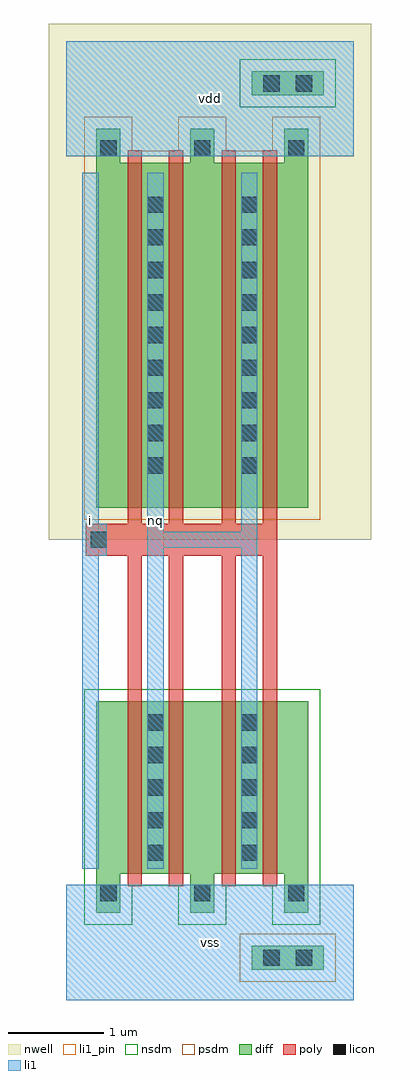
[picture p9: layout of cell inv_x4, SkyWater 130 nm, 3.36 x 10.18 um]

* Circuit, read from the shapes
.subckt inv_x4 i nq vdd vss
XM1 nq i vss VSUBS sky130_fd_pr__nfet_01v8 w=1.8 l=0.15 m=4
XM2 nq i vdd n1 sky130_fd_pr__pfet_01v8 w=3.6 l=0.15 m=4
.ends

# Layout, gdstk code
import gdstk
lib = gdstk.Library(unit=1e-6, precision=1e-09)
def R(c, l, rs):  # rectangles x0, y0, x1, y1
    for r in rs: c.add(gdstk.rectangle(r[:2], r[2:], *l))
def A(c, l, x, y, w, h, nx, ny, dx, dy):  # array of equal rectangles
    R(c, l, [(x+i*dx, y+j*dy, x+i*dx+w, y+j*dy+h) for i in range(nx) for j in range(ny)])
def P(c, l, *ps):  # polygons
    for p in ps: c.add(gdstk.Polygon(p, *l))
nwell = (64, 20)
diff = (65, 20)
poly = (66, 20)
licon = (66, 44)
li1_pin = (67, 16)
li1 = (67, 20)
nsdm = (93, 44)
psdm = (94, 20)

inv_x4 = lib.new_cell('inv_x4')
R(inv_x4, nwell, [(-0.18,4.8,3.18,10.18)])
R(inv_x4, diff, [(1.935,0.315,2.685,0.565), (1.935,9.435,2.685,9.685)])
P(inv_x4, diff, [(0.315,0.91),(0.315,3.115),(2.525,3.115),(2.525,0.91),(2.275,0.91),(2.275,1.315),(1.545,1.315),(1.545,0.91),(1.295,0.91),(1.295,1.315),(0.565,1.315),(0.565,0.91)],
  [(0.315,5.135),(0.315,9.09),(0.565,9.09),(0.565,8.735),(1.295,8.735),(1.295,9.09),(1.545,9.09),(1.545,8.735),(2.275,8.735),(2.275,9.09),(2.525,9.09),(2.525,5.135)])
P(inv_x4, poly, [(0.64,1.185),(0.64,4.635),(0.205,4.635),(0.205,4.965),(0.64,4.965),(0.64,8.865),(0.79,8.865),(0.79,4.965),(1.07,4.965),(1.07,8.865),(1.22,8.865),(1.22,4.965),(1.62,4.965),(1.62,8.865),(1.77,8.865),(1.77,4.965),(2.05,4.965),(2.05,8.865),(2.2,8.865),(2.2,1.185),(2.05,1.185),(2.05,4.635),(1.77,4.635),(1.77,1.185),(1.62,1.185),(1.62,4.635),(1.22,4.635),(1.22,1.185),(1.07,1.185),(1.07,4.635),(0.79,4.635),(0.79,1.185)])
A(inv_x4, licon, 0.355, 1.03, 0.17, 0.17, 3, 2, 0.98, 7.77)
A(inv_x4, licon, 0.845, 1.45, 0.17, 0.17, 1, 5, 0, 0.34)
A(inv_x4, licon, 1.825, 1.45, 0.17, 0.17, 1, 5, 0, 0.34)
A(inv_x4, licon, 0.845, 5.49, 0.17, 0.17, 1, 9, 0, 0.34)
A(inv_x4, licon, 1.825, 5.49, 0.17, 0.17, 1, 9, 0, 0.34)
R(inv_x4, licon, [(2.055,0.355,2.225,0.525), (2.395,0.355,2.565,0.525), (0.255,4.715,0.425,4.885), (2.055,9.475,2.225,9.645), (2.395,9.475,2.565,9.645)])
R(inv_x4, li1_pin, [(0,0,3,1.2), (0.17,1.37,0.34,8.63), (0.845,1.37,1.015,8.63), (0,8.8,3,10)])
R(inv_x4, li1, [(0,0,3,1.2), (0,8.8,3,10)])
P(inv_x4, li1, [(0.17,1.37),(0.17,8.63),(0.34,8.63),(0.34,4.965),(0.425,4.965),(0.425,4.635),(0.34,4.635),(0.34,1.37)],
  [(0.845,1.37),(0.845,8.63),(1.015,8.63),(1.015,4.885),(1.825,4.885),(1.825,8.63),(1.995,8.63),(1.995,1.37),(1.825,1.37),(1.825,4.715),(1.015,4.715),(1.015,1.37)])
R(inv_x4, nsdm, [(1.81,9.31,2.81,9.81)])
P(inv_x4, nsdm, [(0.19,0.785),(0.19,3.24),(2.65,3.24),(2.65,0.785),(2.15,0.785),(2.15,1.19),(1.67,1.19),(1.67,0.785),(1.17,0.785),(1.17,1.19),(0.69,1.19),(0.69,0.785)])
R(inv_x4, psdm, [(1.81,0.19,2.81,0.69)])
P(inv_x4, psdm, [(0.19,5.01),(0.19,9.215),(0.69,9.215),(0.69,8.86),(1.17,8.86),(1.17,9.215),(1.67,9.215),(1.67,8.86),(2.15,8.86),(2.15,9.215),(2.65,9.215),(2.65,5.01)])
inv_x4.add(gdstk.Label('i', (0.255,5), layer=67, texttype=16))
inv_x4.add(gdstk.Label('vss', (1.5,0.6), layer=67, texttype=16))
inv_x4.add(gdstk.Label('vdd', (1.5,9.4), layer=67, texttype=16))
inv_x4.add(gdstk.Label('nq', (0.93,5), layer=67, texttype=16))
inv_x4.add(gdstk.Label('i', (0.255,5), layer=67, texttype=16))
inv_x4.add(gdstk.Label('vss', (1.5,0.6), layer=67, texttype=16))
inv_x4.add(gdstk.Label('vdd', (1.5,9.4), layer=67, texttype=16))
inv_x4.add(gdstk.Label('nq', (0.93,5), layer=67, texttype=16))

lib.write_gds('inv_x4.gds')
